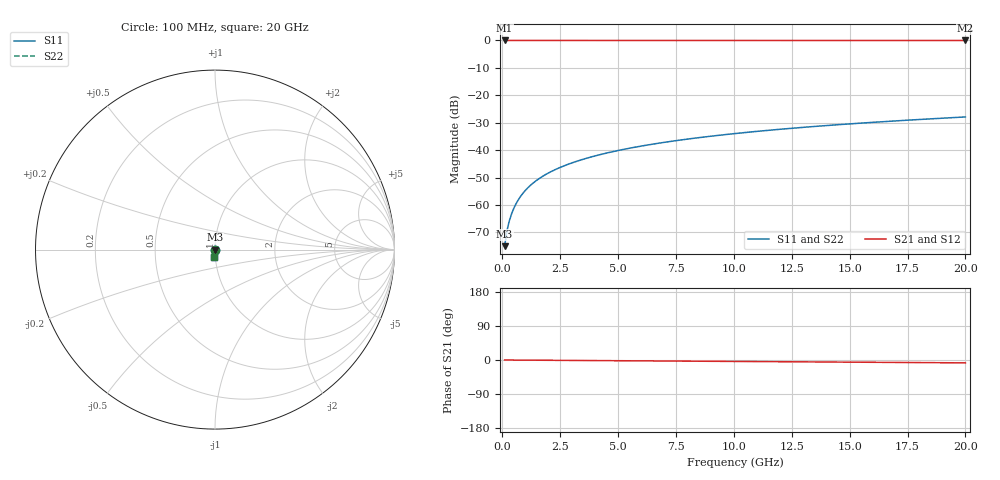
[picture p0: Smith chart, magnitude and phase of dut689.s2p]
! Touchstone file exported from HFSS 2026.1.0
!  File:  C:/ffzhzh/LocalFiles/Ansys_Project_Files/temp_train_TSV_689_1783027596_4048.aedt
!  Generated:  05:28:26 AM Jul  3, 2026
!  Design:  TSV
!  Project:  temp_train_TSV_689_1783027596_4048
! Variables:
!  h_bsmrdl = 2um
!  h_ox = 20um
!  h_rdl = 5um
!  h_sub = 73.01um
!  h_tmrdl = 5um
!  h_tsv = 73.01um
!  h_via = 3um
!  l_bsmrdl = 300um
!  l_sub = 428.74um
!  l_tmrdl = 200um
!  m_sub = 200um
!  pitch = 43.56um
!  r_tsv = 14.37um
!  s_tmrdl = 10um
!  w_bsmrdl = 18um
!  w_sub = 500um
!  w_tmrdl = 12um
!  x_tsv_center1 = 206um
!  x_tsv_center2 = 524um
!  x_tsv_center3 = 736um
!  x_tsv_center4 = 1054um
!  x_tsv_center5 = 1266um
!  x_tsv_center6 = 1584um
# GHz S MA R 50.000000
! Terminal data exported
! Port[1] = TSV1_1_T1
! Port[2] = TSV1_1_T2
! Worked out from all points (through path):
!   200 points, 100 MHz to 20 GHz, reference 50 ohm
!   highest |S21| = 0.00 dB at 100 MHz (marker M1); lowest = 0.0 dB at 20 GHz (marker M2)
!   group delay of S21, straight-line fit = 1.05 ps
!   lowest |S11| = -75.0 dB at 100 MHz (marker M3), VSWR 1.00, Z = 50 - j0.016 ohm
!   |S11| at or under -10 dB: start of sweep to end of sweep
!   |S22| runs from -75.0 to -27.9 dB; largest |S21 - S12| = 2.1e-15
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0.1  0.0001768 -65.1  0.9999 -0.0  0.9999 -0.0  0.0001768 -65.1
! Gamma 0 0 0 0
! Port Impedance 50 0 50 0
0.2  0.0003364 -74.8  0.9999 -0.1  0.9999 -0.1  0.0003364 -74.8
0.3  0.000507 -77.7  0.9999 -0.1  0.9999 -0.1  0.000507 -77.7
0.4  0.0006859 -79.1  0.9999 -0.2  0.9999 -0.2  0.0006859 -79.1
0.5  0.0008714 -79.9  0.9998 -0.2  0.9998 -0.2  0.0008714 -79.9
0.7  0.001256 -81.2  0.9998 -0.3  0.9998 -0.3  0.001256 -81.2
0.8  0.001452 -81.8  0.9998 -0.3  0.9998 -0.3  0.001452 -81.8
1  0.001848 -82.8  0.9998 -0.4  0.9998 -0.4  0.001848 -82.8
1.2  0.002247 -83.6  0.9997 -0.5  0.9997 -0.5  0.002247 -83.6
1.4  0.002645 -84.3  0.9997 -0.5  0.9997 -0.5  0.002645 -84.3
1.7  0.003242 -85.2  0.9997 -0.7  0.9997 -0.7  0.003242 -85.2
2  0.003839 -85.9  0.9997 -0.8  0.9997 -0.8  0.003839 -85.9
2.7  0.005232 -87.0  0.9996 -1.0  0.9996 -1.0  0.005232 -87.0
3.5  0.006826 -87.8  0.9996 -1.3  0.9996 -1.3  0.006826 -87.8
4.2  0.008226 -88.4  0.9995 -1.6  0.9995 -1.6  0.008226 -88.4
5  0.009831 -89.0  0.9995 -1.9  0.9995 -1.9  0.009831 -89.0
6.8  0.01346 -90.1  0.9993 -2.6  0.9993 -2.6  0.01346 -90.1
8.3  0.01649 -90.9  0.9992 -3.1  0.9992 -3.1  0.01649 -90.9
10.1  0.02014 -91.8  0.9991 -3.8  0.9991 -3.8  0.02014 -91.8
13.4  0.02683 -93.3  0.9988 -5.1  0.9988 -5.1  0.02683 -93.3
16.7  0.03352 -94.7  0.9985 -6.3  0.9985 -6.3  0.03352 -94.7
20  0.04022 -96.1  0.9982 -7.6  0.9982 -7.6  0.04022 -96.1
